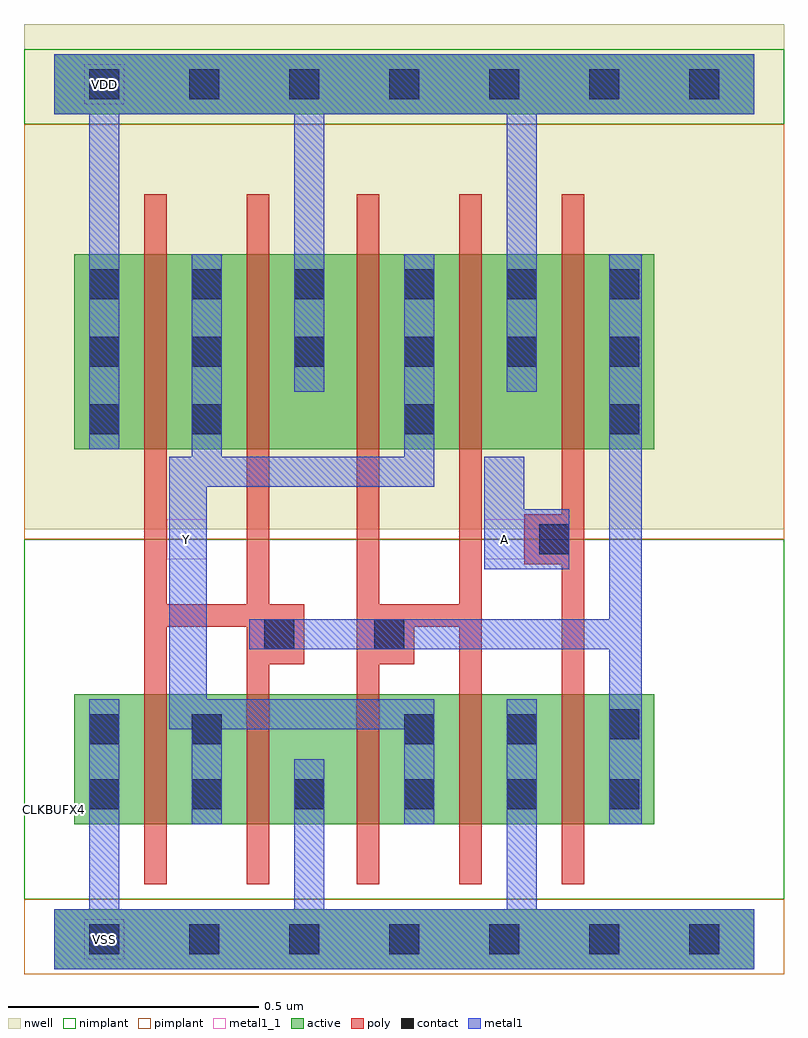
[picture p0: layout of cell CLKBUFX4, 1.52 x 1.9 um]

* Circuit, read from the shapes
.subckt CLKBUFX4 A VDD VSS Y
M1 Y n1 VSS VSS nfet w=0.26u l=0.045u m=4
M2 n1 A VSS VSS nfet w=0.26u l=0.045u
M3 Y n1 VDD VDD pfet w=0.39u l=0.045u m=4
M4 n1 A VDD VDD pfet w=0.39u l=0.045u
.ends

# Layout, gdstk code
import gdstk
lib = gdstk.Library(unit=1e-6, precision=5e-10)
def R(c, l, rs):  # rectangles x0, y0, x1, y1
    for r in rs: c.add(gdstk.rectangle(r[:2], r[2:], *l))
def A(c, l, x, y, w, h, nx, ny, dx, dy):  # array of equal rectangles
    R(c, l, [(x+i*dx, y+j*dy, x+i*dx+w, y+j*dy+h) for i in range(nx) for j in range(ny)])
def P(c, l, *ps):  # polygons
    for p in ps: c.add(gdstk.Polygon(p, *l))
active = (1, 0)
nwell = (2, 0)
poly = (3, 0)
nimplant = (4, 0)
pimplant = (5, 0)
contact = (6, 0)
metal1 = (7, 0)
metal1_1 = (7, 1)

clkbufx4 = lib.new_cell('CLKBUFX4')
R(clkbufx4, active, [(0,-0.06,1.4,0.06), (0.04,0.23,1.2,0.49), (0.04,0.98,1.2,1.37), (0,1.65,1.4,1.77)])
R(clkbufx4, nwell, [(-0.06,0.82,1.46,1.83)])
P(clkbufx4, poly, [(0.18,1.49),(0.225,1.49),(0.225,0.67),(0.385,0.67),(0.385,1.49),(0.43,1.49),(0.43,0.67),(0.5,0.67),(0.5,0.55),(0.43,0.55),(0.43,0.11),(0.385,0.11),(0.385,0.625),(0.225,0.625),(0.225,0.11),(0.18,0.11)],
  [(0.605,1.49),(0.65,1.49),(0.65,0.67),(0.81,0.67),(0.81,1.49),(0.855,1.49),(0.855,0.11),(0.81,0.11),(0.81,0.625),(0.72,0.625),(0.72,0.55),(0.65,0.55),(0.65,0.11),(0.605,0.11)],
  [(1.015,1.49),(1.06,1.49),(1.06,0.11),(1.015,0.11),(1.015,0.75),(0.94,0.75),(0.94,0.85),(1.015,0.85)])
R(clkbufx4, nimplant, [(-0.06,0.08,1.46,0.8), (-0.06,1.63,1.46,1.78)])
R(clkbufx4, pimplant, [(-0.06,-0.07,1.46,0.08), (-0.06,0.8,1.46,1.63)])
A(clkbufx4, contact, 0.07, -0.03, 0.06, 0.06, 7, 2, 0.2, 1.71)
A(clkbufx4, contact, 0.07, 0.26, 0.06, 0.06, 3, 2, 0.205, 0.885)
A(clkbufx4, contact, 0.7, 0.26, 0.06, 0.06, 3, 2, 0.205, 0.885)
A(clkbufx4, contact, 0.07, 1.28, 0.06, 0.06, 3, 1, 0.205, 0)
A(clkbufx4, contact, 0.7, 1.28, 0.06, 0.06, 3, 1, 0.205, 0)
R(clkbufx4, contact, [(0.07,0.39,0.13,0.45), (0.275,0.39,0.335,0.45), (0.7,0.39,0.76,0.45), (0.905,0.39,0.965,0.45), (1.11,0.4,1.17,0.46), (0.42,0.58,0.48,0.64), (0.64,0.58,0.7,0.64), (0.97,0.77,1.03,0.83), (0.07,1.01,0.13,1.07), (0.275,1.01,0.335,1.07), (0.7,1.01,0.76,1.07), (1.11,1.01,1.17,1.07)])
P(clkbufx4, metal1, [(0,1.77),(1.4,1.77),(1.4,1.65),(0.965,1.65),(0.965,1.095),(0.905,1.095),(0.905,1.65),(0.54,1.65),(0.54,1.095),(0.48,1.095),(0.48,1.65),(0.13,1.65),(0.13,0.98),(0.07,0.98),(0.07,1.65),(0,1.65)],
  [(0.275,1.37),(0.335,1.37),(0.335,0.965),(0.7,0.965),(0.7,1.37),(0.76,1.37),(0.76,0.905),(0.305,0.905),(0.305,0.48),(0.76,0.48),(0.76,0.23),(0.7,0.23),(0.7,0.42),(0.335,0.42),(0.335,0.23),(0.275,0.23),(0.275,0.42),(0.23,0.42),(0.23,0.965),(0.275,0.965)],
  [(1.11,1.37),(1.175,1.37),(1.175,0.23),(1.11,0.23),(1.11,0.58),(0.39,0.58),(0.39,0.64),(1.11,0.64)],
  [(0.86,0.965),(0.94,0.965),(0.94,0.86),(1.03,0.86),(1.03,0.74),(0.86,0.74)],
  [(0.07,0.48),(0.13,0.48),(0.13,0.06),(0.48,0.06),(0.48,0.36),(0.54,0.36),(0.54,0.06),(0.905,0.06),(0.905,0.48),(0.965,0.48),(0.965,0.06),(1.4,0.06),(1.4,-0.06),(0,-0.06),(0,0.06),(0.07,0.06)])
R(clkbufx4, metal1_1, [(0.06,-0.04,0.14,0.04), (0.225,0.76,0.305,0.84), (0.86,0.76,0.94,0.84), (0.06,1.67,0.14,1.75)])
clkbufx4.add(gdstk.Label('VSS', (0.1,0), layer=7, texttype=1))
clkbufx4.add(gdstk.Label('Y', (0.265,0.8), layer=7, texttype=1))
clkbufx4.add(gdstk.Label('A', (0.9,0.8), layer=7, texttype=1))
clkbufx4.add(gdstk.Label('VDD', (0.1,1.71), layer=7, texttype=1))
clkbufx4.add(gdstk.Label('CLKBUFX4', (0,0.26), layer=63, texttype=0))

lib.write_gds('CLKBUFX4.gds')
